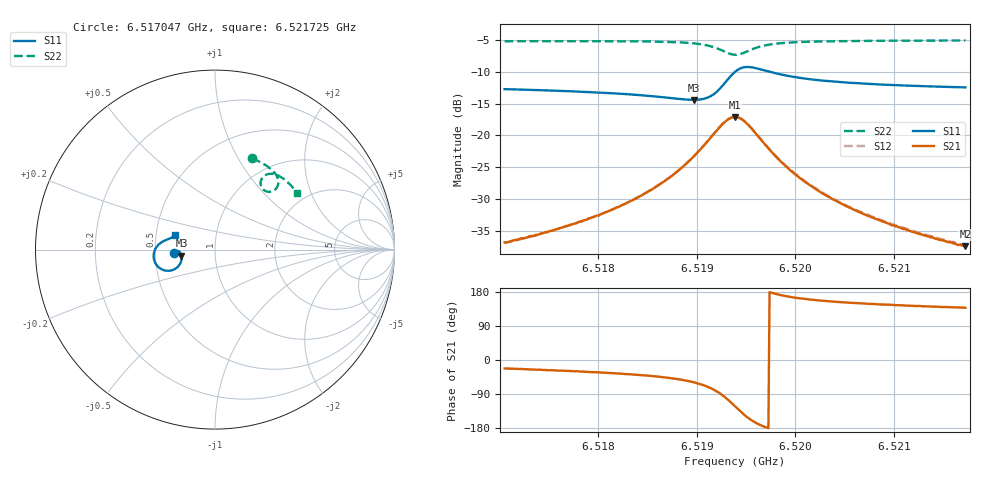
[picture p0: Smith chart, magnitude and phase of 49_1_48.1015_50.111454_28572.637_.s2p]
#  HZ  S  RI  R  50.00
! Rohde & Schwarz Vector Network Analyzer
! Rohde-Schwarz,ZNB20-2Port,1311601062101988,3.16
! Created: UTC 12/23/2023, 3:39:33 AM
! freq[Hz]  re:S11  im:S11  re:S21  im:S21  re:S12  im:S12  re:S22  im:S22
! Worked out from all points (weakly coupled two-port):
!   401 points, 6.517047 GHz to 6.521725 GHz, reference 50 ohm
!   highest |S21| = -17.13 dB at 6.519386 GHz (marker M1); lowest = -37.4 dB at 6.521725 GHz (marker M2)
!   lowest |S11| = -14.4 dB at 6.518965 GHz (marker M3), VSWR 1.47, Z = 34.2 - j2.46 ohm
!   |S11| at or under -10 dB: start of sweep to 6.519387 GHz; 6.519737 GHz to end of sweep
!   |S22| runs from -7.3 to -5.1 dB; largest |S21 - S12| = 0.0043
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6.5170471e9  -0.2303 -0.0163  0.0134 -0.00553  0.0135 -0.00501  0.2071 0.5078
6.5173862e9  -0.2265 -0.0114  0.015 -0.00733  0.0153 -0.00677  0.2321 0.4974
6.5178306e9  -0.2202 -0.00618  0.0181 -0.0108  0.0186 -0.0102  0.2651 0.4805
6.5182399e9  -0.212 -0.0044  0.0229 -0.0169  0.0234 -0.0162  0.2958 0.4613
6.518427e9  -0.2069 -0.00551  0.0257 -0.0215  0.0265 -0.0206  0.3102 0.45
6.5186141e9  -0.2006 -0.00926  0.0294 -0.0287  0.0305 -0.0277  0.3248 0.4365
6.5188012e9  -0.1932 -0.0181  0.0333 -0.0401  0.0346 -0.0394  0.3393 0.4183
6.518965e9  -0.187 -0.0346  0.0354 -0.0582  0.0374 -0.0574  0.3502 0.3955
6.5190702e9  -0.1863 -0.0534  0.0328 -0.0766  0.0354 -0.0762  0.353 0.3748
6.5191638e9  -0.194 -0.078  0.0221 -0.0987  0.0253 -0.0988  0.3478 0.3516
6.5192924e9  -0.2372 -0.1143  -0.0222 -0.1275  -0.0185 -0.129  0.3139 0.3232
6.519386e9  -0.2957 -0.1102  -0.0742 -0.1178  -0.0715 -0.121  0.2734 0.3311
6.5194327e9  -0.3208 -0.0914  -0.0945 -0.0987  -0.0924 -0.1021  0.2593 0.3473
6.5194912e9  -0.3385 -0.0597  -0.1067 -0.069  -0.1056 -0.0727  0.2538 0.3719
6.5195965e9  -0.3375 -0.00903  -0.1004 -0.0257  -0.1005 -0.0288  0.2685 0.4054
6.51969e9  -0.3229 0.0181  -0.0847 -0.00477  -0.0855 -0.00734  0.2889 0.4186
6.5199239e9  -0.2897 0.0455  -0.0541 0.0119  -0.055 0.0106  0.3305 0.4204
6.5201695e9  -0.2694 0.0549  -0.037 0.0143  -0.0378 0.0133  0.3594 0.409
6.5205203e9  -0.2525 0.0615  -0.0244 0.0132  -0.025 0.0127  0.3885 0.3892
6.520953e9  -0.2398 0.068  -0.0168 0.0113  -0.0173 0.0111  0.4172 0.3636
6.5214325e9  -0.23 0.0746  -0.0119 0.00978  -0.0124 0.00971  0.4432 0.3344
6.5217248e9  -0.225 0.0786  -0.01 0.0091  -0.0104 0.0089  0.4576 0.3161
